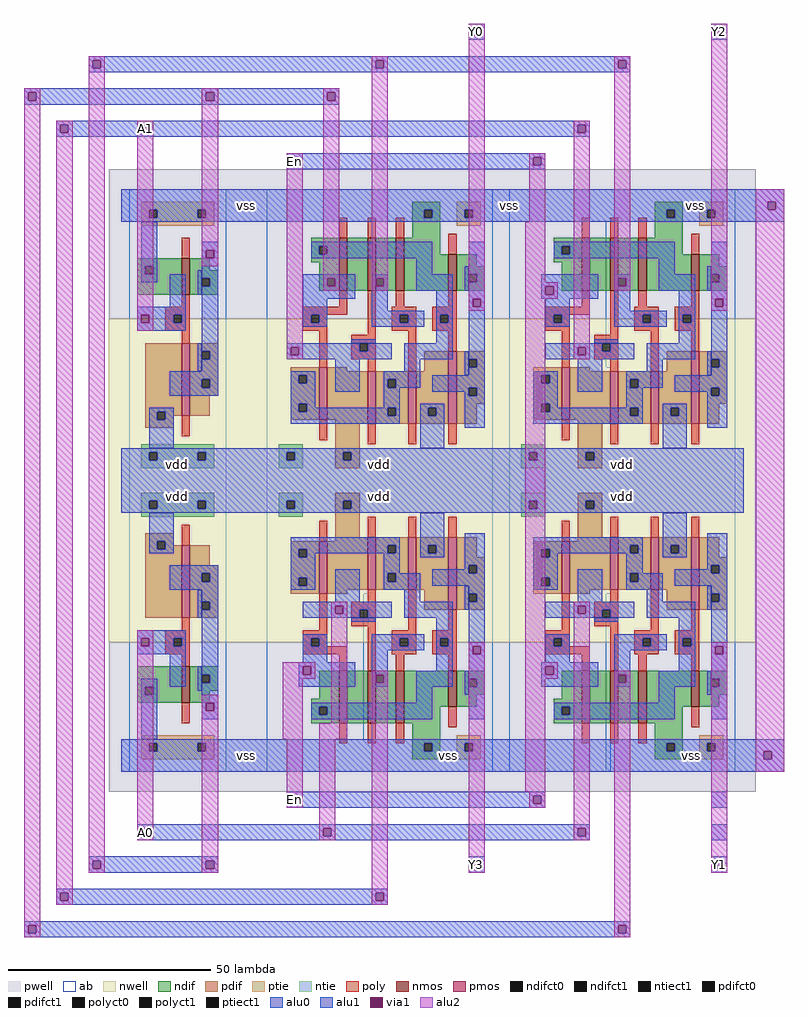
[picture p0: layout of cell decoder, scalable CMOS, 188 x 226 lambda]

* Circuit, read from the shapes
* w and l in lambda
.subckt decoder A0 A1 En Y0 Y1 Y2 Y3 vdd vss
M1 n1 A0 vss vss nfet w=9 l=2
M2 n2 A1 vss vss nfet w=9 l=2
M3 n3 En n4 vss nfet w=13 l=2
M4 n5 n2 n6 vss nfet w=13 l=2
M5 n7 A0 n3 vss nfet w=13 l=2
M6 n8 En n5 vss nfet w=13 l=2
M7 vss A1 n7 vss nfet w=13 l=2
M8 vss n1 n8 vss nfet w=13 l=2
M9 Y3 n4 vss vss nfet w=9 l=2
M10 Y0 n6 vss vss nfet w=9 l=2
M11 n9 En n10 vss nfet w=13 l=2
M12 n11 En n12 vss nfet w=13 l=2
M13 n13 A0 n9 vss nfet w=13 l=2
M14 n14 A1 n11 vss nfet w=13 l=2
M15 vss n2 n13 vss nfet w=13 l=2
M16 vss n1 n14 vss nfet w=13 l=2
M17 Y1 n10 vss vss nfet w=9 l=2
M18 Y2 n12 vss vss nfet w=9 l=2
M19 n1 A0 vdd vdd pfet w=18 l=2
M20 n2 A1 vdd vdd pfet w=18 l=2
M21 vdd En n4 vdd pfet w=13 l=2
M22 vdd n2 n6 vdd pfet w=13 l=2
M23 n4 A0 vdd vdd pfet w=13 l=2
M24 n6 En vdd vdd pfet w=13 l=2
M25 vdd A1 n4 vdd pfet w=13 l=2
M26 vdd n1 n6 vdd pfet w=13 l=2
M27 Y3 n4 vdd vdd pfet w=18 l=2
M28 Y0 n6 vdd vdd pfet w=18 l=2
M29 vdd En n10 vdd pfet w=13 l=2
M30 vdd En n12 vdd pfet w=13 l=2
M31 n10 A0 vdd vdd pfet w=13 l=2
M32 n12 A1 vdd vdd pfet w=13 l=2
M33 vdd n2 n10 vdd pfet w=13 l=2
M34 vdd n1 n12 vdd pfet w=13 l=2
M35 Y1 n10 vdd vdd pfet w=18 l=2
M36 Y2 n12 vdd vdd pfet w=18 l=2
.ends

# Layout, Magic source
magic
tech scmos
<< ab >>
rect -133 -117 -109 27
rect -99 -73 -43 27
rect -99 -109 -75 -73
rect -74 -109 -43 -73
rect -99 -117 -43 -109
rect -39 19 17 27
rect -39 -17 -15 19
rect -14 -17 17 19
rect -39 -73 17 -17
rect -39 -117 -15 -73
rect -14 -117 17 -73
<< nwell >>
rect -138 -85 22 -5
<< pwell >>
rect -138 -5 22 32
rect -138 -122 22 -85
<< poly >>
rect -81 15 -79 20
rect -74 15 -72 20
rect -67 15 -65 20
rect -120 10 -118 15
rect -54 11 -52 16
rect -21 15 -19 20
rect -14 15 -12 20
rect -7 15 -5 20
rect 6 11 8 16
rect -120 -2 -118 1
rect -81 -2 -79 2
rect -124 -4 -118 -2
rect -124 -6 -122 -4
rect -120 -6 -118 -4
rect -124 -8 -118 -6
rect -90 -4 -79 -2
rect -90 -6 -88 -4
rect -86 -6 -84 -4
rect -90 -8 -84 -6
rect -120 -11 -118 -8
rect -86 -17 -84 -8
rect -74 -9 -72 2
rect -67 -2 -65 2
rect -54 -2 -52 2
rect -21 -2 -19 2
rect -68 -4 -62 -2
rect -68 -6 -66 -4
rect -64 -6 -62 -4
rect -68 -8 -62 -6
rect -58 -4 -52 -2
rect -58 -6 -56 -4
rect -54 -6 -52 -4
rect -58 -8 -52 -6
rect -30 -4 -19 -2
rect -30 -6 -28 -4
rect -26 -6 -24 -4
rect -30 -8 -24 -6
rect -78 -11 -72 -9
rect -78 -13 -76 -11
rect -74 -13 -72 -11
rect -78 -15 -72 -13
rect -120 -34 -118 -29
rect -74 -18 -72 -15
rect -64 -18 -62 -8
rect -54 -13 -52 -8
rect -86 -35 -84 -30
rect -26 -17 -24 -8
rect -14 -9 -12 2
rect -7 -2 -5 2
rect 6 -2 8 2
rect -8 -4 -2 -2
rect -8 -6 -6 -4
rect -4 -6 -2 -4
rect -8 -8 -2 -6
rect 2 -4 8 -2
rect 2 -6 4 -4
rect 6 -6 8 -4
rect 2 -8 8 -6
rect -18 -11 -12 -9
rect -18 -13 -16 -11
rect -14 -13 -12 -11
rect -18 -15 -12 -13
rect -14 -18 -12 -15
rect -4 -18 -2 -8
rect 6 -13 8 -8
rect -74 -36 -72 -31
rect -64 -36 -62 -31
rect -54 -36 -52 -31
rect -26 -35 -24 -30
rect -14 -36 -12 -31
rect -4 -36 -2 -31
rect 6 -36 8 -31
rect -120 -61 -118 -56
rect -86 -60 -84 -55
rect -74 -59 -72 -54
rect -64 -59 -62 -54
rect -54 -59 -52 -54
rect -120 -82 -118 -79
rect -86 -82 -84 -73
rect -74 -75 -72 -72
rect -78 -77 -72 -75
rect -78 -79 -76 -77
rect -74 -79 -72 -77
rect -78 -81 -72 -79
rect -124 -84 -118 -82
rect -124 -86 -122 -84
rect -120 -86 -118 -84
rect -124 -88 -118 -86
rect -90 -84 -84 -82
rect -90 -86 -88 -84
rect -86 -86 -84 -84
rect -90 -88 -79 -86
rect -120 -91 -118 -88
rect -81 -92 -79 -88
rect -74 -92 -72 -81
rect -64 -82 -62 -72
rect -26 -60 -24 -55
rect -14 -59 -12 -54
rect -4 -59 -2 -54
rect 6 -59 8 -54
rect -54 -82 -52 -77
rect -26 -82 -24 -73
rect -14 -75 -12 -72
rect -18 -77 -12 -75
rect -18 -79 -16 -77
rect -14 -79 -12 -77
rect -18 -81 -12 -79
rect -68 -84 -62 -82
rect -68 -86 -66 -84
rect -64 -86 -62 -84
rect -68 -88 -62 -86
rect -58 -84 -52 -82
rect -58 -86 -56 -84
rect -54 -86 -52 -84
rect -58 -88 -52 -86
rect -30 -84 -24 -82
rect -30 -86 -28 -84
rect -26 -86 -24 -84
rect -30 -88 -19 -86
rect -67 -92 -65 -88
rect -54 -92 -52 -88
rect -21 -92 -19 -88
rect -14 -92 -12 -81
rect -4 -82 -2 -72
rect 6 -82 8 -77
rect -8 -84 -2 -82
rect -8 -86 -6 -84
rect -4 -86 -2 -84
rect -8 -88 -2 -86
rect 2 -84 8 -82
rect 2 -86 4 -84
rect 6 -86 8 -84
rect 2 -88 8 -86
rect -7 -92 -5 -88
rect 6 -92 8 -88
rect -120 -105 -118 -100
rect -81 -110 -79 -105
rect -74 -110 -72 -105
rect -67 -110 -65 -105
rect -54 -106 -52 -101
rect -21 -110 -19 -105
rect -14 -110 -12 -105
rect -7 -110 -5 -105
rect 6 -106 8 -101
<< ndif >>
rect -63 22 -56 24
rect -63 20 -60 22
rect -58 20 -56 22
rect -63 15 -56 20
rect -3 22 4 24
rect -3 20 0 22
rect 2 20 4 22
rect -88 13 -81 15
rect -88 11 -86 13
rect -84 11 -81 13
rect -131 8 -120 10
rect -131 6 -129 8
rect -127 6 -120 8
rect -131 1 -120 6
rect -118 7 -113 10
rect -88 9 -81 11
rect -118 5 -111 7
rect -118 3 -115 5
rect -113 3 -111 5
rect -118 1 -111 3
rect -86 2 -81 9
rect -79 2 -74 15
rect -72 2 -67 15
rect -65 11 -56 15
rect -3 15 4 20
rect -28 13 -21 15
rect -28 11 -26 13
rect -24 11 -21 13
rect -65 2 -54 11
rect -52 8 -47 11
rect -28 9 -21 11
rect -52 6 -45 8
rect -52 4 -49 6
rect -47 4 -45 6
rect -52 2 -45 4
rect -26 2 -21 9
rect -19 2 -14 15
rect -12 2 -7 15
rect -5 11 4 15
rect -5 2 6 11
rect 8 8 13 11
rect 8 6 15 8
rect 8 4 11 6
rect 13 4 15 6
rect 8 2 15 4
rect -131 -96 -120 -91
rect -131 -98 -129 -96
rect -127 -98 -120 -96
rect -131 -100 -120 -98
rect -118 -93 -111 -91
rect -118 -95 -115 -93
rect -113 -95 -111 -93
rect -118 -97 -111 -95
rect -118 -100 -113 -97
rect -86 -99 -81 -92
rect -88 -101 -81 -99
rect -88 -103 -86 -101
rect -84 -103 -81 -101
rect -88 -105 -81 -103
rect -79 -105 -74 -92
rect -72 -105 -67 -92
rect -65 -101 -54 -92
rect -52 -94 -45 -92
rect -52 -96 -49 -94
rect -47 -96 -45 -94
rect -52 -98 -45 -96
rect -52 -101 -47 -98
rect -26 -99 -21 -92
rect -28 -101 -21 -99
rect -65 -105 -56 -101
rect -63 -110 -56 -105
rect -28 -103 -26 -101
rect -24 -103 -21 -101
rect -28 -105 -21 -103
rect -19 -105 -14 -92
rect -12 -105 -7 -92
rect -5 -101 6 -92
rect 8 -94 15 -92
rect 8 -96 11 -94
rect 13 -96 15 -94
rect 8 -98 15 -96
rect 8 -101 13 -98
rect -5 -105 4 -101
rect -63 -112 -60 -110
rect -58 -112 -56 -110
rect -63 -114 -56 -112
rect -3 -110 4 -105
rect -3 -112 0 -110
rect 2 -112 4 -110
rect -3 -114 4 -112
<< pdif >>
rect -129 -28 -120 -11
rect -129 -30 -126 -28
rect -124 -29 -120 -28
rect -118 -13 -111 -11
rect -118 -15 -115 -13
rect -113 -15 -111 -13
rect -118 -20 -111 -15
rect -118 -22 -115 -20
rect -113 -22 -111 -20
rect -118 -24 -111 -22
rect -93 -19 -86 -17
rect -93 -21 -91 -19
rect -89 -21 -86 -19
rect -118 -29 -113 -24
rect -93 -26 -86 -21
rect -93 -28 -91 -26
rect -89 -28 -86 -26
rect -124 -30 -122 -29
rect -129 -32 -122 -30
rect -93 -30 -86 -28
rect -84 -18 -79 -17
rect -60 -18 -54 -13
rect -84 -30 -74 -18
rect -82 -31 -74 -30
rect -72 -20 -64 -18
rect -72 -22 -69 -20
rect -67 -22 -64 -20
rect -72 -27 -64 -22
rect -72 -29 -69 -27
rect -67 -29 -64 -27
rect -72 -31 -64 -29
rect -62 -27 -54 -18
rect -62 -29 -59 -27
rect -57 -29 -54 -27
rect -62 -31 -54 -29
rect -52 -15 -45 -13
rect -52 -17 -49 -15
rect -47 -17 -45 -15
rect -52 -22 -45 -17
rect -52 -24 -49 -22
rect -47 -24 -45 -22
rect -52 -26 -45 -24
rect -33 -19 -26 -17
rect -33 -21 -31 -19
rect -29 -21 -26 -19
rect -33 -26 -26 -21
rect -52 -31 -47 -26
rect -33 -28 -31 -26
rect -29 -28 -26 -26
rect -33 -30 -26 -28
rect -24 -18 -19 -17
rect 0 -18 6 -13
rect -24 -30 -14 -18
rect -82 -38 -76 -31
rect -22 -31 -14 -30
rect -12 -20 -4 -18
rect -12 -22 -9 -20
rect -7 -22 -4 -20
rect -12 -27 -4 -22
rect -12 -29 -9 -27
rect -7 -29 -4 -27
rect -12 -31 -4 -29
rect -2 -27 6 -18
rect -2 -29 1 -27
rect 3 -29 6 -27
rect -2 -31 6 -29
rect 8 -15 15 -13
rect 8 -17 11 -15
rect 13 -17 15 -15
rect 8 -22 15 -17
rect 8 -24 11 -22
rect 13 -24 15 -22
rect 8 -26 15 -24
rect 8 -31 13 -26
rect -82 -40 -80 -38
rect -78 -40 -76 -38
rect -82 -42 -76 -40
rect -22 -38 -16 -31
rect -22 -40 -20 -38
rect -18 -40 -16 -38
rect -22 -42 -16 -40
rect -82 -50 -76 -48
rect -82 -52 -80 -50
rect -78 -52 -76 -50
rect -129 -60 -122 -58
rect -129 -62 -126 -60
rect -124 -61 -122 -60
rect -82 -59 -76 -52
rect -22 -50 -16 -48
rect -22 -52 -20 -50
rect -18 -52 -16 -50
rect -82 -60 -74 -59
rect -124 -62 -120 -61
rect -129 -79 -120 -62
rect -118 -66 -113 -61
rect -93 -62 -86 -60
rect -93 -64 -91 -62
rect -89 -64 -86 -62
rect -118 -68 -111 -66
rect -118 -70 -115 -68
rect -113 -70 -111 -68
rect -118 -75 -111 -70
rect -93 -69 -86 -64
rect -93 -71 -91 -69
rect -89 -71 -86 -69
rect -93 -73 -86 -71
rect -84 -72 -74 -60
rect -72 -61 -64 -59
rect -72 -63 -69 -61
rect -67 -63 -64 -61
rect -72 -68 -64 -63
rect -72 -70 -69 -68
rect -67 -70 -64 -68
rect -72 -72 -64 -70
rect -62 -61 -54 -59
rect -62 -63 -59 -61
rect -57 -63 -54 -61
rect -62 -72 -54 -63
rect -84 -73 -79 -72
rect -118 -77 -115 -75
rect -113 -77 -111 -75
rect -118 -79 -111 -77
rect -60 -77 -54 -72
rect -52 -64 -47 -59
rect -22 -59 -16 -52
rect -22 -60 -14 -59
rect -33 -62 -26 -60
rect -33 -64 -31 -62
rect -29 -64 -26 -62
rect -52 -66 -45 -64
rect -52 -68 -49 -66
rect -47 -68 -45 -66
rect -52 -73 -45 -68
rect -33 -69 -26 -64
rect -33 -71 -31 -69
rect -29 -71 -26 -69
rect -33 -73 -26 -71
rect -24 -72 -14 -60
rect -12 -61 -4 -59
rect -12 -63 -9 -61
rect -7 -63 -4 -61
rect -12 -68 -4 -63
rect -12 -70 -9 -68
rect -7 -70 -4 -68
rect -12 -72 -4 -70
rect -2 -61 6 -59
rect -2 -63 1 -61
rect 3 -63 6 -61
rect -2 -72 6 -63
rect -24 -73 -19 -72
rect -52 -75 -49 -73
rect -47 -75 -45 -73
rect -52 -77 -45 -75
rect 0 -77 6 -72
rect 8 -64 13 -59
rect 8 -66 15 -64
rect 8 -68 11 -66
rect 13 -68 15 -66
rect 8 -73 15 -68
rect 8 -75 11 -73
rect 13 -75 15 -73
rect 8 -77 15 -75
<< alu1 >>
rect -49 67 -45 68
rect -49 65 -48 67
rect -46 65 -45 67
rect -49 64 -45 65
rect 11 67 15 68
rect 11 65 12 67
rect 14 65 15 67
rect 11 64 15 65
rect -143 59 -9 60
rect -143 57 -142 59
rect -140 57 -72 59
rect -70 57 -12 59
rect -10 57 -9 59
rect -143 56 -9 57
rect -159 51 -81 52
rect -159 49 -158 51
rect -156 49 -114 51
rect -112 49 -84 51
rect -82 49 -81 51
rect -159 48 -81 49
rect -151 43 -19 44
rect -151 41 -150 43
rect -148 41 -130 43
rect -128 41 -22 43
rect -20 41 -19 43
rect -151 40 -19 41
rect -94 35 -30 36
rect -94 33 -93 35
rect -91 33 -33 35
rect -31 33 -30 35
rect -94 32 -30 33
rect -135 24 29 27
rect -135 22 25 24
rect 27 22 29 24
rect -135 20 -128 22
rect -126 20 -116 22
rect -114 20 -60 22
rect -58 20 -50 22
rect -48 20 0 22
rect 2 20 10 22
rect 12 20 29 22
rect -135 19 29 20
rect -115 12 -111 14
rect -115 10 -114 12
rect -112 10 -111 12
rect -123 -2 -119 6
rect -115 5 -111 10
rect -113 3 -111 5
rect -131 -4 -119 -2
rect -131 -6 -130 -4
rect -128 -6 -122 -4
rect -120 -6 -119 -4
rect -131 -8 -119 -6
rect -115 -13 -111 3
rect -90 5 -77 6
rect -90 3 -84 5
rect -82 3 -77 5
rect -90 0 -77 3
rect -73 5 -69 6
rect -73 3 -72 5
rect -70 3 -69 5
rect -90 -4 -84 0
rect -90 -6 -88 -4
rect -86 -6 -84 -4
rect -90 -7 -84 -6
rect -73 -3 -69 3
rect -49 6 -45 14
rect -47 4 -45 6
rect -73 -4 -60 -3
rect -73 -6 -66 -4
rect -64 -6 -60 -4
rect -73 -7 -60 -6
rect -113 -15 -111 -13
rect -94 -12 -76 -11
rect -94 -14 -93 -12
rect -91 -13 -76 -12
rect -74 -13 -68 -11
rect -91 -14 -68 -13
rect -94 -15 -68 -14
rect -49 0 -45 4
rect -31 3 -17 6
rect -31 1 -30 3
rect -28 1 -17 3
rect -31 0 -17 1
rect -13 5 -9 6
rect -13 3 -12 5
rect -10 3 -9 5
rect -49 -2 -48 0
rect -46 -2 -45 0
rect -115 -18 -111 -15
rect -123 -20 -111 -18
rect -123 -22 -115 -20
rect -113 -22 -111 -20
rect -123 -24 -111 -22
rect -82 -23 -76 -15
rect -49 -15 -45 -2
rect -30 -4 -24 0
rect -30 -6 -28 -4
rect -26 -6 -24 -4
rect -30 -7 -24 -6
rect -13 -3 -9 3
rect 11 6 15 14
rect 13 4 15 6
rect -13 -4 0 -3
rect -13 -6 -6 -4
rect -4 -6 0 -4
rect -13 -7 0 -6
rect -30 -12 -16 -11
rect -30 -14 -22 -12
rect -20 -13 -16 -12
rect -14 -13 -8 -11
rect -20 -14 -8 -13
rect -30 -15 -8 -14
rect 11 0 15 4
rect 11 -2 12 0
rect 14 -2 15 0
rect -47 -17 -45 -15
rect -49 -19 -45 -17
rect -58 -22 -45 -19
rect -58 -23 -49 -22
rect -50 -24 -49 -23
rect -47 -24 -45 -22
rect -50 -32 -45 -24
rect -22 -23 -16 -15
rect 11 -15 15 -2
rect 13 -17 15 -15
rect 11 -19 15 -17
rect 2 -22 15 -19
rect 2 -23 11 -22
rect 10 -24 11 -23
rect 13 -24 15 -22
rect 10 -32 15 -24
rect -135 -38 19 -37
rect -135 -40 -128 -38
rect -126 -40 -116 -38
rect -114 -40 -94 -38
rect -92 -40 -80 -38
rect -78 -40 -34 -38
rect -32 -40 -20 -38
rect -18 -40 19 -38
rect -135 -50 19 -40
rect -135 -52 -128 -50
rect -126 -52 -116 -50
rect -114 -52 -94 -50
rect -92 -52 -80 -50
rect -78 -52 -34 -50
rect -32 -52 -20 -50
rect -18 -52 19 -50
rect -135 -53 19 -52
rect -123 -68 -111 -66
rect -123 -70 -115 -68
rect -113 -70 -111 -68
rect -123 -72 -111 -70
rect -115 -75 -111 -72
rect -82 -75 -76 -67
rect -50 -66 -45 -58
rect -50 -67 -49 -66
rect -58 -68 -49 -67
rect -47 -68 -45 -66
rect -58 -71 -45 -68
rect -113 -77 -111 -75
rect -131 -84 -119 -82
rect -131 -86 -130 -84
rect -128 -86 -122 -84
rect -120 -86 -119 -84
rect -131 -88 -119 -86
rect -123 -96 -119 -88
rect -115 -93 -111 -77
rect -90 -76 -68 -75
rect -90 -78 -82 -76
rect -80 -77 -68 -76
rect -80 -78 -76 -77
rect -90 -79 -76 -78
rect -74 -79 -68 -77
rect -49 -73 -45 -71
rect -47 -75 -45 -73
rect -22 -75 -16 -67
rect 10 -66 15 -58
rect 10 -67 11 -66
rect 2 -68 11 -67
rect 13 -68 15 -66
rect 2 -71 15 -68
rect -90 -84 -84 -83
rect -90 -86 -88 -84
rect -86 -86 -84 -84
rect -90 -90 -84 -86
rect -73 -84 -60 -83
rect -73 -86 -66 -84
rect -64 -86 -60 -84
rect -73 -87 -60 -86
rect -113 -95 -111 -93
rect -115 -100 -111 -95
rect -91 -91 -77 -90
rect -91 -93 -90 -91
rect -88 -93 -77 -91
rect -91 -96 -77 -93
rect -73 -93 -69 -87
rect -49 -86 -45 -75
rect -30 -76 -8 -75
rect -30 -78 -22 -76
rect -20 -77 -8 -76
rect -20 -78 -16 -77
rect -30 -79 -16 -78
rect -14 -79 -8 -77
rect 11 -73 15 -71
rect 13 -75 15 -73
rect -49 -88 -48 -86
rect -46 -88 -45 -86
rect -73 -95 -72 -93
rect -70 -95 -69 -93
rect -73 -96 -69 -95
rect -49 -94 -45 -88
rect -30 -84 -24 -83
rect -30 -86 -28 -84
rect -26 -86 -24 -84
rect -30 -90 -24 -86
rect -13 -84 0 -83
rect -13 -86 -6 -84
rect -4 -86 0 -84
rect -13 -87 0 -86
rect -47 -96 -45 -94
rect -31 -91 -17 -90
rect -31 -93 -30 -91
rect -28 -93 -17 -91
rect -31 -96 -17 -93
rect -13 -93 -9 -87
rect 11 -86 15 -75
rect 11 -88 12 -86
rect 14 -88 15 -86
rect -13 -95 -12 -93
rect -10 -95 -9 -93
rect -13 -96 -9 -95
rect -115 -102 -114 -100
rect -112 -102 -111 -100
rect -115 -104 -111 -102
rect -49 -104 -45 -96
rect 11 -94 15 -88
rect 13 -96 15 -94
rect 11 -104 15 -96
rect -135 -110 29 -109
rect -135 -112 -128 -110
rect -126 -112 -116 -110
rect -114 -112 -60 -110
rect -58 -112 -50 -110
rect -48 -112 0 -110
rect 2 -112 10 -110
rect 12 -112 29 -110
rect -135 -114 24 -112
rect 26 -114 29 -112
rect -135 -117 29 -114
rect -94 -123 -30 -122
rect -94 -125 -93 -123
rect -91 -125 -33 -123
rect -31 -125 -30 -123
rect -94 -126 -30 -125
rect 11 -126 15 -122
rect -131 -131 -19 -130
rect -131 -133 -130 -131
rect -128 -133 -85 -131
rect -83 -133 -22 -131
rect -20 -133 -19 -131
rect -131 -134 -19 -133
rect 11 -134 15 -130
rect -143 -139 -111 -138
rect -143 -141 -142 -139
rect -140 -141 -114 -139
rect -112 -141 -111 -139
rect -143 -142 -111 -141
rect -49 -139 -45 -138
rect -49 -141 -48 -139
rect -46 -141 -45 -139
rect -49 -142 -45 -141
rect 11 -139 15 -138
rect 11 -141 12 -139
rect 14 -141 15 -139
rect 11 -142 15 -141
rect -151 -147 -69 -146
rect -151 -149 -150 -147
rect -148 -149 -72 -147
rect -70 -149 -69 -147
rect -151 -150 -69 -149
rect -159 -155 -9 -154
rect -159 -157 -158 -155
rect -156 -157 -12 -155
rect -10 -157 -9 -155
rect -159 -158 -9 -157
<< alu2 >>
rect -49 67 -45 68
rect -49 65 -48 67
rect -46 65 -45 67
rect -143 59 -139 60
rect -143 57 -142 59
rect -140 57 -139 59
rect -159 51 -155 52
rect -159 49 -158 51
rect -156 49 -155 51
rect -159 -155 -155 49
rect -151 43 -147 44
rect -151 41 -150 43
rect -148 41 -147 43
rect -151 -147 -147 41
rect -143 -139 -139 57
rect -73 59 -69 60
rect -73 57 -72 59
rect -70 57 -69 59
rect -115 51 -111 52
rect -115 49 -114 51
rect -112 49 -111 51
rect -131 43 -127 44
rect -131 41 -130 43
rect -128 41 -127 43
rect -131 -4 -127 41
rect -115 12 -111 49
rect -85 51 -81 52
rect -85 49 -84 51
rect -82 49 -81 51
rect -115 10 -114 12
rect -112 10 -111 12
rect -115 8 -111 10
rect -94 35 -90 36
rect -94 33 -93 35
rect -91 33 -90 35
rect -131 -6 -130 -4
rect -128 -6 -127 -4
rect -131 -8 -127 -6
rect -94 -12 -90 33
rect -85 5 -81 49
rect -85 3 -84 5
rect -82 3 -81 5
rect -85 2 -81 3
rect -73 5 -69 57
rect -73 3 -72 5
rect -70 3 -69 5
rect -73 2 -69 3
rect -49 0 -45 65
rect 11 67 15 68
rect 11 65 12 67
rect 14 65 15 67
rect -13 59 -9 60
rect -13 57 -12 59
rect -10 57 -9 59
rect -23 43 -19 44
rect -23 41 -22 43
rect -20 41 -19 43
rect -34 35 -30 36
rect -34 33 -33 35
rect -31 33 -30 35
rect -34 19 -30 33
rect -49 -2 -48 0
rect -46 -2 -45 0
rect -49 -3 -45 -2
rect -35 4 -30 19
rect -35 3 -27 4
rect -35 1 -30 3
rect -28 1 -27 3
rect -35 0 -27 1
rect -94 -14 -93 -12
rect -91 -14 -90 -12
rect -94 -15 -90 -14
rect -83 -76 -79 -75
rect -83 -78 -82 -76
rect -80 -78 -79 -76
rect -131 -84 -127 -82
rect -131 -86 -130 -84
rect -128 -86 -127 -84
rect -131 -131 -127 -86
rect -95 -91 -87 -90
rect -95 -93 -90 -91
rect -88 -93 -87 -91
rect -95 -94 -87 -93
rect -131 -133 -130 -131
rect -128 -133 -127 -131
rect -131 -134 -127 -133
rect -115 -100 -111 -98
rect -115 -102 -114 -100
rect -112 -102 -111 -100
rect -143 -141 -142 -139
rect -140 -141 -139 -139
rect -143 -142 -139 -141
rect -115 -139 -111 -102
rect -95 -109 -90 -94
rect -83 -105 -79 -78
rect -49 -86 -45 -85
rect -49 -88 -48 -86
rect -46 -88 -45 -86
rect -94 -123 -90 -109
rect -94 -125 -93 -123
rect -91 -125 -90 -123
rect -94 -126 -90 -125
rect -86 -109 -79 -105
rect -73 -93 -69 -92
rect -73 -95 -72 -93
rect -70 -95 -69 -93
rect -86 -131 -82 -109
rect -86 -133 -85 -131
rect -83 -133 -82 -131
rect -86 -134 -82 -133
rect -115 -141 -114 -139
rect -112 -141 -111 -139
rect -115 -142 -111 -141
rect -151 -149 -150 -147
rect -148 -149 -147 -147
rect -151 -150 -147 -149
rect -73 -147 -69 -95
rect -49 -139 -45 -88
rect -35 -90 -30 0
rect -23 -12 -19 41
rect -13 5 -9 57
rect -13 3 -12 5
rect -10 3 -9 5
rect -13 2 -9 3
rect 11 0 15 65
rect 11 -2 12 0
rect 14 -2 15 0
rect 11 -3 15 -2
rect 22 24 29 27
rect 22 22 25 24
rect 27 22 29 24
rect -23 -14 -22 -12
rect -20 -14 -19 -12
rect -23 -15 -19 -14
rect -23 -76 -19 -75
rect -23 -78 -22 -76
rect -20 -78 -19 -76
rect -35 -91 -27 -90
rect -35 -93 -30 -91
rect -28 -93 -27 -91
rect -35 -94 -27 -93
rect -35 -122 -30 -94
rect -34 -123 -30 -122
rect -34 -125 -33 -123
rect -31 -125 -30 -123
rect -34 -126 -30 -125
rect -23 -131 -19 -78
rect 11 -86 15 -85
rect 11 -88 12 -86
rect 14 -88 15 -86
rect -23 -133 -22 -131
rect -20 -133 -19 -131
rect -23 -134 -19 -133
rect -13 -93 -9 -92
rect -13 -95 -12 -93
rect -10 -95 -9 -93
rect -49 -141 -48 -139
rect -46 -141 -45 -139
rect -49 -142 -45 -141
rect -73 -149 -72 -147
rect -70 -149 -69 -147
rect -73 -150 -69 -149
rect -159 -157 -158 -155
rect -156 -157 -155 -155
rect -159 -158 -155 -157
rect -13 -155 -9 -95
rect 11 -139 15 -88
rect 22 -112 29 22
rect 22 -114 24 -112
rect 26 -114 29 -112
rect 22 -117 29 -114
rect 11 -141 12 -139
rect 14 -141 15 -139
rect 11 -142 15 -141
rect -13 -157 -12 -155
rect -10 -157 -9 -155
rect -13 -158 -9 -157
<< ptie >>
rect -130 22 -112 24
rect -130 20 -128 22
rect -126 20 -116 22
rect -114 20 -112 22
rect -130 18 -112 20
rect -52 22 -46 24
rect -52 20 -50 22
rect -48 20 -46 22
rect -52 18 -46 20
rect 8 22 14 24
rect 8 20 10 22
rect 12 20 14 22
rect 8 18 14 20
rect -130 -110 -112 -108
rect -130 -112 -128 -110
rect -126 -112 -116 -110
rect -114 -112 -112 -110
rect -130 -114 -112 -112
rect -52 -110 -46 -108
rect -52 -112 -50 -110
rect -48 -112 -46 -110
rect -52 -114 -46 -112
rect 8 -110 14 -108
rect 8 -112 10 -110
rect 12 -112 14 -110
rect 8 -114 14 -112
<< ntie >>
rect -130 -38 -112 -36
rect -130 -40 -128 -38
rect -126 -40 -116 -38
rect -114 -40 -112 -38
rect -130 -42 -112 -40
rect -96 -38 -90 -36
rect -96 -40 -94 -38
rect -92 -40 -90 -38
rect -96 -42 -90 -40
rect -36 -38 -30 -36
rect -36 -40 -34 -38
rect -32 -40 -30 -38
rect -36 -42 -30 -40
rect -130 -50 -112 -48
rect -130 -52 -128 -50
rect -126 -52 -116 -50
rect -114 -52 -112 -50
rect -130 -54 -112 -52
rect -96 -50 -90 -48
rect -96 -52 -94 -50
rect -92 -52 -90 -50
rect -96 -54 -90 -52
rect -36 -50 -30 -48
rect -36 -52 -34 -50
rect -32 -52 -30 -50
rect -36 -54 -30 -52
<< nmos >>
rect -120 1 -118 10
rect -81 2 -79 15
rect -74 2 -72 15
rect -67 2 -65 15
rect -54 2 -52 11
rect -21 2 -19 15
rect -14 2 -12 15
rect -7 2 -5 15
rect 6 2 8 11
rect -120 -100 -118 -91
rect -81 -105 -79 -92
rect -74 -105 -72 -92
rect -67 -105 -65 -92
rect -54 -101 -52 -92
rect -21 -105 -19 -92
rect -14 -105 -12 -92
rect -7 -105 -5 -92
rect 6 -101 8 -92
<< pmos >>
rect -120 -29 -118 -11
rect -86 -30 -84 -17
rect -74 -31 -72 -18
rect -64 -31 -62 -18
rect -54 -31 -52 -13
rect -26 -30 -24 -17
rect -14 -31 -12 -18
rect -4 -31 -2 -18
rect 6 -31 8 -13
rect -120 -79 -118 -61
rect -86 -73 -84 -60
rect -74 -72 -72 -59
rect -64 -72 -62 -59
rect -54 -77 -52 -59
rect -26 -73 -24 -60
rect -14 -72 -12 -59
rect -4 -72 -2 -59
rect 6 -77 8 -59
<< polyct0 >>
rect -56 -6 -54 -4
rect 4 -6 6 -4
rect -56 -86 -54 -84
rect 4 -86 6 -84
<< polyct1 >>
rect -122 -6 -120 -4
rect -88 -6 -86 -4
rect -66 -6 -64 -4
rect -28 -6 -26 -4
rect -76 -13 -74 -11
rect -6 -6 -4 -4
rect -16 -13 -14 -11
rect -76 -79 -74 -77
rect -122 -86 -120 -84
rect -88 -86 -86 -84
rect -16 -79 -14 -77
rect -66 -86 -64 -84
rect -28 -86 -26 -84
rect -6 -86 -4 -84
<< ndifct0 >>
rect -86 11 -84 13
rect -129 6 -127 8
rect -26 11 -24 13
rect -129 -98 -127 -96
rect -86 -103 -84 -101
rect -26 -103 -24 -101
<< ndifct1 >>
rect -60 20 -58 22
rect 0 20 2 22
rect -115 3 -113 5
rect -49 4 -47 6
rect 11 4 13 6
rect -115 -95 -113 -93
rect -49 -96 -47 -94
rect 11 -96 13 -94
rect -60 -112 -58 -110
rect 0 -112 2 -110
<< ntiect1 >>
rect -128 -40 -126 -38
rect -116 -40 -114 -38
rect -94 -40 -92 -38
rect -34 -40 -32 -38
rect -128 -52 -126 -50
rect -116 -52 -114 -50
rect -94 -52 -92 -50
rect -34 -52 -32 -50
<< ptiect1 >>
rect -128 20 -126 22
rect -116 20 -114 22
rect -50 20 -48 22
rect 10 20 12 22
rect -128 -112 -126 -110
rect -116 -112 -114 -110
rect -50 -112 -48 -110
rect 10 -112 12 -110
<< pdifct0 >>
rect -126 -30 -124 -28
rect -91 -21 -89 -19
rect -91 -28 -89 -26
rect -69 -22 -67 -20
rect -69 -29 -67 -27
rect -59 -29 -57 -27
rect -31 -21 -29 -19
rect -31 -28 -29 -26
rect -9 -22 -7 -20
rect -9 -29 -7 -27
rect 1 -29 3 -27
rect -126 -62 -124 -60
rect -91 -64 -89 -62
rect -91 -71 -89 -69
rect -69 -63 -67 -61
rect -69 -70 -67 -68
rect -59 -63 -57 -61
rect -31 -64 -29 -62
rect -31 -71 -29 -69
rect -9 -63 -7 -61
rect -9 -70 -7 -68
rect 1 -63 3 -61
<< pdifct1 >>
rect -115 -15 -113 -13
rect -115 -22 -113 -20
rect -49 -17 -47 -15
rect -49 -24 -47 -22
rect 11 -17 13 -15
rect 11 -24 13 -22
rect -80 -40 -78 -38
rect -20 -40 -18 -38
rect -80 -52 -78 -50
rect -20 -52 -18 -50
rect -115 -70 -113 -68
rect -115 -77 -113 -75
rect -49 -68 -47 -66
rect -49 -75 -47 -73
rect 11 -68 13 -66
rect 11 -75 13 -73
<< alu0 >>
rect -130 8 -126 19
rect -130 6 -129 8
rect -127 6 -126 8
rect -88 13 -58 14
rect -88 11 -86 13
rect -84 11 -58 13
rect -88 10 -58 11
rect -130 4 -126 6
rect -116 1 -115 7
rect -62 6 -58 10
rect -116 -18 -115 -11
rect -62 2 -53 6
rect -50 2 -49 8
rect -28 13 2 14
rect -28 11 -26 13
rect -24 11 2 13
rect -28 10 2 11
rect -2 6 2 10
rect -57 -4 -53 2
rect -57 -6 -56 -4
rect -54 -6 -53 -4
rect -78 -11 -72 -10
rect -57 -11 -53 -6
rect -65 -15 -53 -11
rect -93 -19 -87 -18
rect -93 -21 -91 -19
rect -89 -21 -87 -19
rect -93 -26 -87 -21
rect -65 -18 -61 -15
rect -70 -20 -61 -18
rect -50 -19 -49 -13
rect -2 2 7 6
rect 10 2 11 8
rect 3 -4 7 2
rect 3 -6 4 -4
rect 6 -6 7 -4
rect -18 -11 -12 -10
rect 3 -11 7 -6
rect -5 -15 7 -11
rect -70 -22 -69 -20
rect -67 -22 -61 -20
rect -128 -28 -122 -27
rect -128 -30 -126 -28
rect -124 -30 -122 -28
rect -128 -37 -122 -30
rect -93 -28 -91 -26
rect -89 -27 -87 -26
rect -70 -27 -66 -22
rect -89 -28 -69 -27
rect -93 -29 -69 -28
rect -67 -29 -66 -27
rect -93 -31 -66 -29
rect -61 -27 -55 -26
rect -61 -29 -59 -27
rect -57 -29 -55 -27
rect -61 -37 -55 -29
rect -33 -19 -27 -18
rect -33 -21 -31 -19
rect -29 -21 -27 -19
rect -33 -26 -27 -21
rect -5 -18 -1 -15
rect -10 -20 -1 -18
rect 10 -19 11 -13
rect -10 -22 -9 -20
rect -7 -22 -1 -20
rect -33 -28 -31 -26
rect -29 -27 -27 -26
rect -10 -27 -6 -22
rect -29 -28 -9 -27
rect -33 -29 -9 -28
rect -7 -29 -6 -27
rect -33 -31 -6 -29
rect -1 -27 5 -26
rect -1 -29 1 -27
rect 3 -29 5 -27
rect -1 -37 5 -29
rect -128 -60 -122 -53
rect -128 -62 -126 -60
rect -124 -62 -122 -60
rect -128 -63 -122 -62
rect -93 -61 -66 -59
rect -93 -62 -69 -61
rect -93 -64 -91 -62
rect -89 -63 -69 -62
rect -67 -63 -66 -61
rect -89 -64 -87 -63
rect -93 -69 -87 -64
rect -93 -71 -91 -69
rect -89 -71 -87 -69
rect -93 -72 -87 -71
rect -116 -79 -115 -72
rect -70 -68 -66 -63
rect -61 -61 -55 -53
rect -61 -63 -59 -61
rect -57 -63 -55 -61
rect -61 -64 -55 -63
rect -70 -70 -69 -68
rect -67 -70 -61 -68
rect -70 -72 -61 -70
rect -65 -75 -61 -72
rect -130 -96 -126 -94
rect -130 -98 -129 -96
rect -127 -98 -126 -96
rect -116 -97 -115 -91
rect -65 -79 -53 -75
rect -50 -77 -49 -71
rect -33 -61 -6 -59
rect -33 -62 -9 -61
rect -33 -64 -31 -62
rect -29 -63 -9 -62
rect -7 -63 -6 -61
rect -29 -64 -27 -63
rect -33 -69 -27 -64
rect -33 -71 -31 -69
rect -29 -71 -27 -69
rect -33 -72 -27 -71
rect -10 -68 -6 -63
rect -1 -61 5 -53
rect -1 -63 1 -61
rect 3 -63 5 -61
rect -1 -64 5 -63
rect -10 -70 -9 -68
rect -7 -70 -1 -68
rect -10 -72 -1 -70
rect -5 -75 -1 -72
rect -78 -80 -72 -79
rect -57 -84 -53 -79
rect -57 -86 -56 -84
rect -54 -86 -53 -84
rect -130 -109 -126 -98
rect -57 -92 -53 -86
rect -5 -79 7 -75
rect 10 -77 11 -71
rect -18 -80 -12 -79
rect -62 -96 -53 -92
rect -62 -100 -58 -96
rect -50 -98 -49 -92
rect 3 -84 7 -79
rect 3 -86 4 -84
rect 6 -86 7 -84
rect 3 -92 7 -86
rect -2 -96 7 -92
rect -88 -101 -58 -100
rect -88 -103 -86 -101
rect -84 -103 -58 -101
rect -88 -104 -58 -103
rect -2 -100 2 -96
rect 10 -98 11 -92
rect -28 -101 2 -100
rect -28 -103 -26 -101
rect -24 -103 2 -101
rect -28 -104 2 -103
<< via1 >>
rect -48 65 -46 67
rect 12 65 14 67
rect -142 57 -140 59
rect -72 57 -70 59
rect -12 57 -10 59
rect -158 49 -156 51
rect -114 49 -112 51
rect -84 49 -82 51
rect -150 41 -148 43
rect -130 41 -128 43
rect -22 41 -20 43
rect -93 33 -91 35
rect -33 33 -31 35
rect 25 22 27 24
rect -114 10 -112 12
rect -130 -6 -128 -4
rect -84 3 -82 5
rect -72 3 -70 5
rect -93 -14 -91 -12
rect -30 1 -28 3
rect -12 3 -10 5
rect -48 -2 -46 0
rect -22 -14 -20 -12
rect 12 -2 14 0
rect -130 -86 -128 -84
rect -82 -78 -80 -76
rect -90 -93 -88 -91
rect -22 -78 -20 -76
rect -48 -88 -46 -86
rect -72 -95 -70 -93
rect -30 -93 -28 -91
rect 12 -88 14 -86
rect -12 -95 -10 -93
rect -114 -102 -112 -100
rect 24 -114 26 -112
rect -93 -125 -91 -123
rect -33 -125 -31 -123
rect -130 -133 -128 -131
rect -85 -133 -83 -131
rect -22 -133 -20 -131
rect -142 -141 -140 -139
rect -114 -141 -112 -139
rect -48 -141 -46 -139
rect 12 -141 14 -139
rect -150 -149 -148 -147
rect -72 -149 -70 -147
rect -158 -157 -156 -155
rect -12 -157 -10 -155
<< labels >>
rlabel alu1 -71 -49 -71 -49 4 vdd
rlabel alu1 -11 -49 -11 -49 4 vdd
rlabel alu1 -121 -49 -121 -49 4 vdd
rlabel via1 -92 -124 -92 -124 1 En
rlabel alu1 -71 -41 -71 -41 2 vdd
rlabel alu1 -11 -41 -11 -41 2 vdd
rlabel alu1 -121 -41 -121 -41 2 vdd
rlabel via1 -129 42 -129 42 1 A1
rlabel via1 -129 -132 -129 -132 1 A0
rlabel via1 13 66 13 66 5 Y2
rlabel via1 -47 66 -47 66 5 Y0
rlabel via1 -47 -140 -47 -140 1 Y3
rlabel via1 13 -140 13 -140 1 Y1
rlabel alu1 -104 23 -104 23 1 vss
rlabel alu1 -39 23 -39 23 1 vss
rlabel alu1 7 23 7 23 1 vss
rlabel alu1 -104 -113 -104 -113 1 vss
rlabel alu1 -54 -113 -54 -113 1 vss
rlabel alu1 6 -113 6 -113 1 vss
rlabel via1 -92 34 -92 34 1 En
<< end >>
